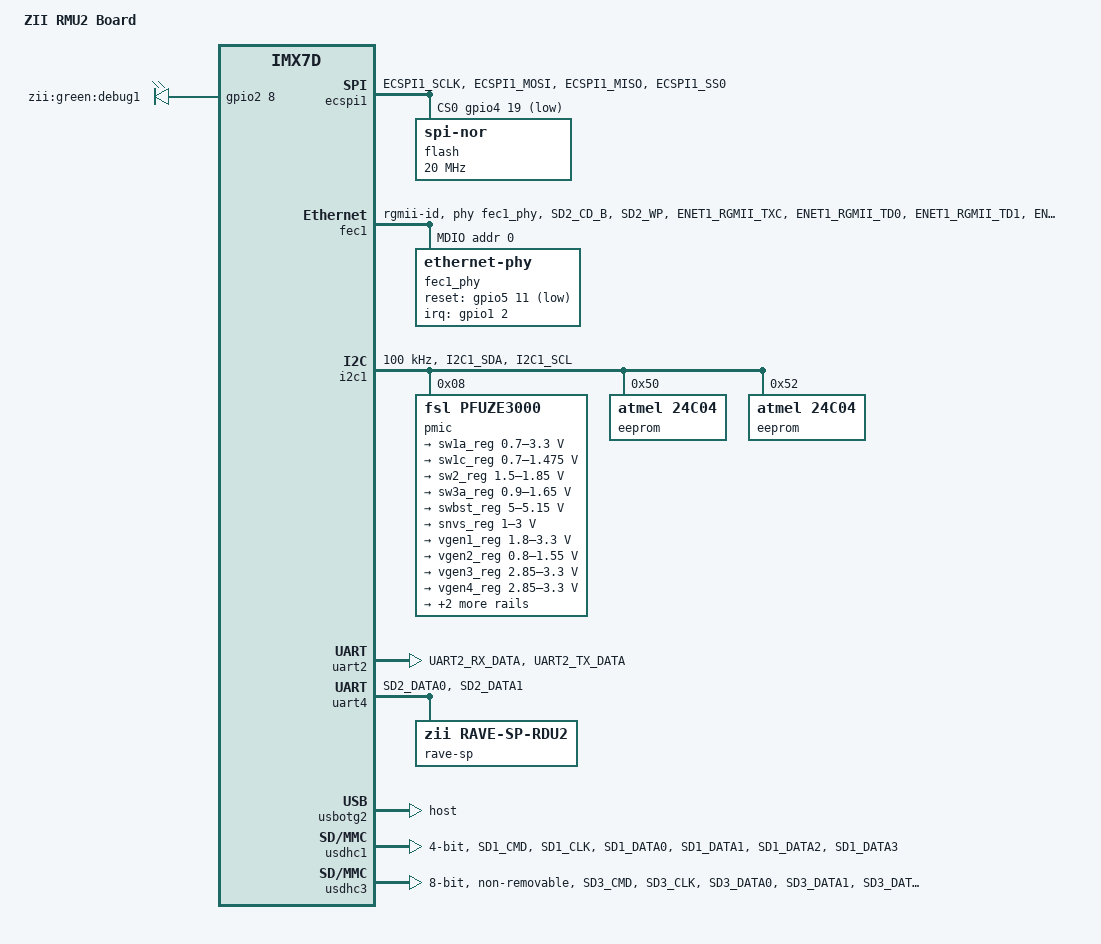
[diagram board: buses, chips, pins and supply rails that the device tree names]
// SPDX-License-Identifier: (GPL-2.0 OR MIT)
/*
 * Device tree file for ZII's RMU2 board
 *
 * RMU - Remote Modem Unit
 *
 * Copyright (C) 2019 Zodiac Inflight Innovations
 */

/dts-v1/;
#include <dt-bindings/thermal/thermal.h>
#include "imx7d.dtsi"

/ {
	model = "ZII RMU2 Board";
	compatible = "zii,imx7d-rmu2", "fsl,imx7d";

	chosen {
		stdout-path = &uart2;
	};

	gpio-leds {
		compatible = "gpio-leds";
		pinctrl-0 = <&pinctrl_leds_debug>;
		pinctrl-names = "default";

		led-debug {
			label = "zii:green:debug1";
			gpios = <&gpio2 8 GPIO_ACTIVE_HIGH>;
			linux,default-trigger = "heartbeat";
		};
	};
};

&cpu0 {
	cpu-supply = <&sw1a_reg>;
};

&ecspi1 {
	pinctrl-names = "default";
	pinctrl-0 = <&pinctrl_ecspi1>;
	cs-gpios = <&gpio4 19 GPIO_ACTIVE_LOW>;
	status = "okay";

	flash@0 {
		compatible = "jedec,spi-nor";
		spi-max-frequency = <20000000>;
		reg = <0>;
		#address-cells = <1>;
		#size-cells = <1>;
	};
};

&fec1 {
	pinctrl-names = "default";
	pinctrl-0 = <&pinctrl_enet1>;
	assigned-clocks = <&clks IMX7D_ENET1_TIME_ROOT_SRC>,
			  <&clks IMX7D_ENET1_TIME_ROOT_CLK>;
	assigned-clock-parents = <&clks IMX7D_PLL_ENET_MAIN_100M_CLK>;
	assigned-clock-rates = <0>, <100000000>;
	phy-mode = "rgmii-id";
	phy-handle = <&fec1_phy>;
	status = "okay";

	mdio {
		#address-cells = <1>;
		#size-cells = <0>;

		fec1_phy: ethernet-phy@0 {
			pinctrl-names = "default";
			pinctrl-0 = <&pinctrl_enet1_phy_reset>,
				    <&pinctrl_enet1_phy_interrupt>;
			reg = <0>;
			interrupt-parent = <&gpio1>;
			interrupts = <2 IRQ_TYPE_LEVEL_LOW>;
			reset-gpios = <&gpio5 11 GPIO_ACTIVE_LOW>;
		};
	};
};

&i2c1 {
	clock-frequency = <100000>;
	pinctrl-names = "default";
	pinctrl-0 = <&pinctrl_i2c1>;
	status = "okay";

	pmic@8 {
		compatible = "fsl,pfuze3000";
		reg = <0x08>;

		regulators {
			sw1a_reg: sw1a {
				regulator-min-microvolt = <700000>;
				regulator-max-microvolt = <3300000>;
				regulator-boot-on;
				regulator-always-on;
				regulator-ramp-delay = <6250>;
			};

			sw1c_reg: sw1b {
				regulator-min-microvolt = <700000>;
				regulator-max-microvolt = <1475000>;
				regulator-boot-on;
				regulator-always-on;
				regulator-ramp-delay = <6250>;
			};

			sw2_reg: sw2 {
				regulator-min-microvolt = <1500000>;
				regulator-max-microvolt = <1850000>;
				regulator-boot-on;
				regulator-always-on;
			};

			sw3a_reg: sw3 {
				regulator-min-microvolt = <900000>;
				regulator-max-microvolt = <1650000>;
				regulator-boot-on;
				regulator-always-on;
			};

			swbst_reg: swbst {
				regulator-min-microvolt = <5000000>;
				regulator-max-microvolt = <5150000>;
			};

			snvs_reg: vsnvs {
				regulator-min-microvolt = <1000000>;
				regulator-max-microvolt = <3000000>;
				regulator-boot-on;
				regulator-always-on;
			};

			vref_reg: vrefddr {
				regulator-boot-on;
				regulator-always-on;
			};

			vgen1_reg: vldo1 {
				regulator-min-microvolt = <1800000>;
				regulator-max-microvolt = <3300000>;
				regulator-always-on;
			};

			vgen2_reg: vldo2 {
				regulator-min-microvolt = <800000>;
				regulator-max-microvolt = <1550000>;
				regulator-always-on;
			};

			vgen3_reg: vccsd {
				regulator-min-microvolt = <2850000>;
				regulator-max-microvolt = <3300000>;
				regulator-always-on;
			};

			vgen4_reg: v33 {
				regulator-min-microvolt = <2850000>;
				regulator-max-microvolt = <3300000>;
				regulator-always-on;
			};

			vgen5_reg: vldo3 {
				regulator-min-microvolt = <1800000>;
				regulator-max-microvolt = <3300000>;
				regulator-always-on;
			};

			vgen6_reg: vldo4 {
				regulator-min-microvolt = <1800000>;
				regulator-max-microvolt = <3300000>;
				regulator-always-on;
			};
		};
	};

	eeprom@50 {
		compatible = "atmel,24c04";
		reg = <0x50>;
	};

	eeprom@52 {
		compatible = "atmel,24c04";
		reg = <0x52>;
	};
};

&snvs_rtc {
	status = "disabled";
};

&uart2 {
	pinctrl-names = "default";
	pinctrl-0 = <&pinctrl_uart2>;
	assigned-clocks = <&clks IMX7D_UART2_ROOT_SRC>;
	assigned-clock-parents = <&clks IMX7D_OSC_24M_CLK>;
	status = "okay";
};

&uart4 {
	pinctrl-names = "default";
	pinctrl-0 = <&pinctrl_uart4>;
	assigned-clocks = <&clks IMX7D_UART4_ROOT_SRC>;
	assigned-clock-parents = <&clks IMX7D_PLL_SYS_MAIN_240M_CLK>;
	status = "okay";

	rave-sp {
		compatible = "zii,rave-sp-rdu2";
		current-speed = <1000000>;
		#address-cells = <1>;
		#size-cells = <1>;

		watchdog {
			compatible = "zii,rave-sp-watchdog";
		};

		eeprom@a3 {
			compatible = "zii,rave-sp-eeprom";
			reg = <0xa3 0x4000>;
			#address-cells = <1>;
			#size-cells = <1>;
			zii,eeprom-name = "main-eeprom";
		};
	};
};

&usbotg2 {
	dr_mode = "host";
	disable-over-current;
	status = "okay";
};

&usdhc1 {
	pinctrl-names = "default";
	pinctrl-0 = <&pinctrl_usdhc1>;
	bus-width = <4>;
	no-1-8-v;
	no-sdio;
	keep-power-in-suspend;
	status = "okay";
};

&usdhc3 {
	pinctrl-names = "default";
	pinctrl-0 = <&pinctrl_usdhc3>;
	bus-width = <8>;
	no-1-8-v;
	non-removable;
	no-sdio;
	no-sd;
	keep-power-in-suspend;
	status = "okay";
};

&wdog1 {
	status = "disabled";
};

&iomuxc {
	pinctrl_ecspi1: ecspi1grp {
		fsl,pins = <
			MX7D_PAD_ECSPI1_SCLK__ECSPI1_SCLK	0x2
			MX7D_PAD_ECSPI1_MOSI__ECSPI1_MOSI	0x2
			MX7D_PAD_ECSPI1_MISO__ECSPI1_MISO	0x2
			MX7D_PAD_ECSPI1_SS0__GPIO4_IO19         0x59
		>;
	};

	pinctrl_enet1: enet1grp {
		fsl,pins = <
			MX7D_PAD_SD2_CD_B__ENET1_MDIO				0x3
			MX7D_PAD_SD2_WP__ENET1_MDC				0x3
			MX7D_PAD_ENET1_RGMII_TXC__ENET1_RGMII_TXC		0x1
			MX7D_PAD_ENET1_RGMII_TD0__ENET1_RGMII_TD0		0x1
			MX7D_PAD_ENET1_RGMII_TD1__ENET1_RGMII_TD1		0x1
			MX7D_PAD_ENET1_RGMII_TD2__ENET1_RGMII_TD2		0x1
			MX7D_PAD_ENET1_RGMII_TD3__ENET1_RGMII_TD3		0x1
			MX7D_PAD_ENET1_RGMII_TX_CTL__ENET1_RGMII_TX_CTL		0x1
			MX7D_PAD_ENET1_RGMII_RXC__ENET1_RGMII_RXC		0x1
			MX7D_PAD_ENET1_RGMII_RD0__ENET1_RGMII_RD0		0x1
			MX7D_PAD_ENET1_RGMII_RD1__ENET1_RGMII_RD1		0x1
			MX7D_PAD_ENET1_RGMII_RD2__ENET1_RGMII_RD2		0x1
			MX7D_PAD_ENET1_RGMII_RD3__ENET1_RGMII_RD3		0x1
			MX7D_PAD_ENET1_RGMII_RX_CTL__ENET1_RGMII_RX_CTL		0x1
		>;
	};

	pinctrl_enet1_phy_reset: enet1phyresetgrp {
		fsl,pins = <
			MX7D_PAD_SD2_RESET_B__GPIO5_IO11	0x14

		>;
	};

	pinctrl_i2c1: i2c1grp {
		fsl,pins = <
			MX7D_PAD_I2C1_SDA__I2C1_SDA		0x4000007f
			MX7D_PAD_I2C1_SCL__I2C1_SCL		0x4000007f
		>;
	};

	pinctrl_leds_debug: ledsgrp {
		fsl,pins = <
			MX7D_PAD_EPDC_DATA08__GPIO2_IO8		0x59
		>;
	};


	pinctrl_uart2: uart2grp {
		fsl,pins = <
			MX7D_PAD_UART2_RX_DATA__UART2_DCE_RX	0x79
			MX7D_PAD_UART2_TX_DATA__UART2_DCE_TX	0x79
		>;
	};

	pinctrl_uart4: uart4grp {
		fsl,pins = <
			MX7D_PAD_SD2_DATA0__UART4_DCE_RX	0x79
			MX7D_PAD_SD2_DATA1__UART4_DCE_TX	0x79
		>;
	};

	pinctrl_usdhc1: usdhc1grp {
		fsl,pins = <
			MX7D_PAD_SD1_CMD__SD1_CMD		0x59
			MX7D_PAD_SD1_CLK__SD1_CLK		0x19
			MX7D_PAD_SD1_DATA0__SD1_DATA0		0x59
			MX7D_PAD_SD1_DATA1__SD1_DATA1		0x59
			MX7D_PAD_SD1_DATA2__SD1_DATA2		0x59
			MX7D_PAD_SD1_DATA3__SD1_DATA3		0x59
		>;
	};

	pinctrl_usdhc3: usdhc3grp {
		fsl,pins = <
			MX7D_PAD_SD3_CMD__SD3_CMD		0x59
			MX7D_PAD_SD3_CLK__SD3_CLK		0x19
			MX7D_PAD_SD3_DATA0__SD3_DATA0		0x59
			MX7D_PAD_SD3_DATA1__SD3_DATA1		0x59
			MX7D_PAD_SD3_DATA2__SD3_DATA2		0x59
			MX7D_PAD_SD3_DATA3__SD3_DATA3		0x59
			MX7D_PAD_SD3_DATA4__SD3_DATA4		0x59
			MX7D_PAD_SD3_DATA5__SD3_DATA5		0x59
			MX7D_PAD_SD3_DATA6__SD3_DATA6		0x59
			MX7D_PAD_SD3_DATA7__SD3_DATA7		0x59
			MX7D_PAD_SD3_RESET_B__SD3_RESET_B	0x59
		>;
	};
};

&iomuxc_lpsr {
	pinctrl_enet1_phy_interrupt: enet1phyinterruptgrp {
		fsl,pins = <
			MX7D_PAD_LPSR_GPIO1_IO02__GPIO1_IO2	0x08
		>;
	};
};
